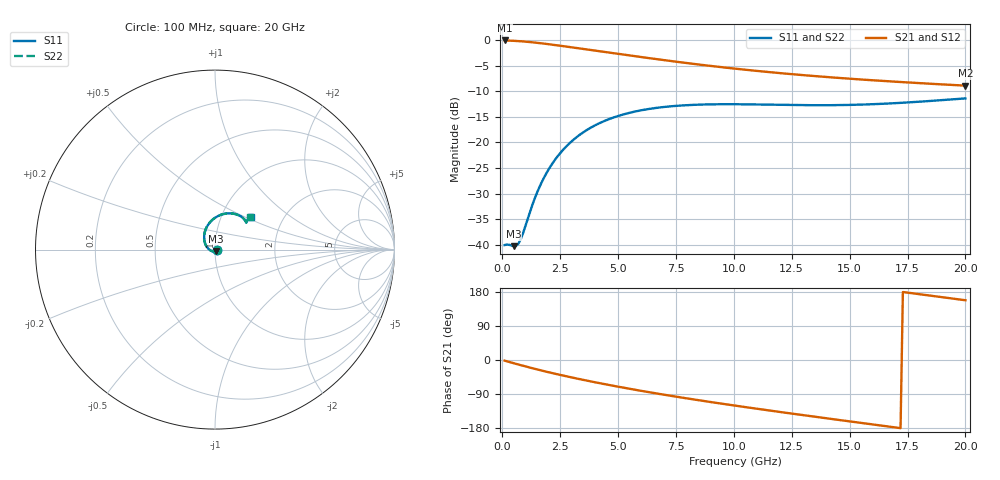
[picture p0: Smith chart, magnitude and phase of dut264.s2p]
! Touchstone file exported from HFSS 2024.1.0
!  File:  C:/UserFiles/LocalFiles/RDL_TSV_Batchsim/temp_RDL_TSV_264_1779459833.aedt
!  Generated:  10:37:39 PM May 22, 2026
!  Design:  RDL_TSV
!  Project:  temp_RDL_TSV_264_1779459833
!  Setup:  Setup1
!  Solution:  Sweep
! Variables:
!  dtsv = 8.8um
!  hbump = 3um
!  htsv = 97.6um
!  ldown = 414.94um
!  lrdl = 367.09um
!  p = 40
!  p1 = 43.23um
!  rhole = 10um
!  subl = 2713.18um
!  t = 450um
!  tdown = 4.78um
!  trdl = 4.55um
!  viad = 10um
!  wdown = 23.78um
!  wrdl = 19.91um
!  xbump = 18um
# GHz S MA R 50.000000
! Terminal data exported
! Port[1] = TM1_1_T1
! Port[2] = TM1_4_T1
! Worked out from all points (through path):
!   200 points, 100 MHz to 20 GHz, reference 50 ohm
!   highest |S21| = -0.11 dB at 100 MHz (marker M1); lowest = -8.9 dB at 20 GHz (marker M2)
!   group delay of S21, straight-line fit = 26.6 ps
!   lowest |S11| = -40.3 dB at 500 MHz (marker M3), VSWR 1.02, Z = 50.5 - j0.827 ohm
!   |S11| at or under -10 dB: start of sweep to end of sweep
!   |S22| runs from -40.2 to -11.4 dB; largest |S21 - S12| = 1.3e-14
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0.1  0.009923 -7.8  0.9876 -1.8  0.9876 -1.8  0.009905 -8.1
! Gamma 0 0 0 0
! Port Impedance 50 0 50 0
0.5  0.009676 -57.7  0.9796 -8.6  0.9796 -8.6  0.009821 -58.6
0.7  0.01028 -92.7  0.9736 -12.0  0.9736 -12.0  0.01056 -93.0
0.8  0.01136 -110.0  0.9701 -13.6  0.9701 -13.6  0.01168 -109.8
1.3  0.02452 -167.6  0.9478 -21.7  0.9478 -21.7  0.0248 -166.5
1.5  0.03217 179.2  0.9371 -24.8  0.9371 -24.8  0.0324 -179.8
1.7  0.04063 168.7  0.9258 -27.9  0.9258 -27.9  0.04079 169.6
2  0.05432 155.8  0.908 -32.3  0.908 -32.3  0.05438 156.6
2.3  0.06868 145.1  0.8897 -36.6  0.8897 -36.6  0.06865 145.9
2.7  0.08812 133.2  0.8649 -42.1  0.8649 -42.1  0.08797 133.9
3.5  0.1253 114.1  0.816 -52.5  0.816 -52.5  0.1249 114.6
4.2  0.1539 100.7  0.7751 -61.1  0.7751 -61.1  0.1533 101.3
4.9  0.1777 89.7  0.7362 -69.3  0.7362 -69.3  0.1771 90.1
5.8  0.2012 77.9  0.6897 -79.3  0.6897 -79.3  0.2005 78.4
6.8  0.2189 67.5  0.6427 -89.7  0.6427 -89.7  0.2181 67.9
8.4  0.2328 55.2  0.5779 -105.4  0.5779 -105.4  0.232 55.6
10.1  0.2353 46.8  0.5223 -120.8  0.5223 -120.8  0.2347 47.2
11.7  0.2327 42.5  0.4805 -134.7  0.4805 -134.7  0.2322 42.8
13.4  0.2303 40.7  0.445 -148.9  0.445 -148.9  0.23 41.1
15  0.2318 40.9  0.4179 -162.0  0.4179 -162.0  0.2317 41.3
16.7  0.2394 41.9  0.3941 -175.8  0.3941 -175.8  0.2394 42.2
20  0.2683 42.4  0.3577 157.7  0.3577 157.7  0.2686 42.6
